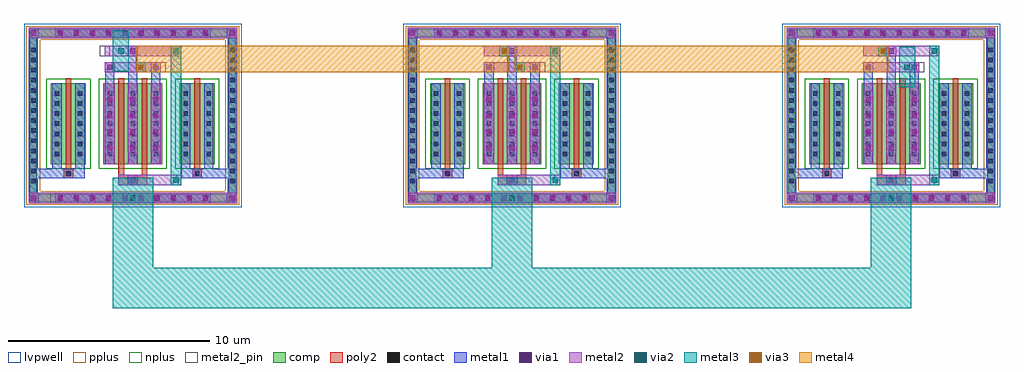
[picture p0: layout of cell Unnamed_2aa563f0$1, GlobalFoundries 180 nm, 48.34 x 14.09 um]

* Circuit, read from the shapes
.subckt Unnamed_2aa563f0$1 VSS
XM1 VSS VSS VSS VSS nfet_03v3 w=4u l=0.28u m=6
XM2 Unnamed_370bb58b_0/VRECT Unnamed_370bb58b_0/VRECT Unnamed_f6345639_1/N1 VSS nfet_03v3 w=4u l=0.28u m=2
XM3 Unnamed_f6345639_1/N1 Unnamed_f6345639_1/N1 Unnamed_f7e6e802_2/N2 VSS nfet_03v3 w=4u l=0.28u m=2
XM4 Unnamed_f7e6e802_2/N2 Unnamed_f7e6e802_2/N2 Unnamed_429ecfc3_3/VOUT VSS nfet_03v3 w=4u l=0.28u m=2
.ends

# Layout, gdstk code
import gdstk
lib = gdstk.Library(unit=1e-6, precision=5e-09)
def R(c, l, rs):  # rectangles x0, y0, x1, y1
    for r in rs: c.add(gdstk.rectangle(r[:2], r[2:], *l))
def A(c, l, x, y, w, h, nx, ny, dx, dy):  # array of equal rectangles
    R(c, l, [(x+i*dx, y+j*dy, x+i*dx+w, y+j*dy+h) for i in range(nx) for j in range(ny)])
def P(c, l, *ps):  # polygons
    for p in ps: c.add(gdstk.Polygon(p, *l))
comp = (22, 0)
poly2 = (30, 0)
pplus = (31, 0)
nplus = (32, 0)
contact = (33, 0)
metal1 = (34, 0)
via1 = (35, 0)
metal2 = (36, 0)
metal2_pin = (36, 10)
via2 = (38, 0)
via3 = (40, 0)
metal3 = (42, 0)
metal4 = (46, 0)
lvpwell = (204, 0)

compass_df8d0505 = lib.new_cell('compass_df8d0505')
R(compass_df8d0505, metal2_pin, [(-0.25,-0.25,0.25,0.25)])

unnamed_370bb58b = lib.new_cell('Unnamed_370bb58b')
unnamed_370bb58b.add(gdstk.Reference(compass_df8d0505, (0,0)))
unnamed_370bb58b.add(gdstk.Label('VRECT', (0,0), layer=36, texttype=10))

compass_df8d0505_1 = lib.new_cell('compass_df8d0505$1')
R(compass_df8d0505_1, metal2_pin, [(-0.25,-0.25,0.25,0.25)])

unnamed_f6345639 = lib.new_cell('Unnamed_f6345639')
unnamed_f6345639.add(gdstk.Reference(compass_df8d0505_1, (0,0)))
unnamed_f6345639.add(gdstk.Label('N1', (0,0), layer=36, texttype=10))

compass_df8d0505_2 = lib.new_cell('compass_df8d0505$2')
R(compass_df8d0505_2, metal2_pin, [(-0.25,-0.25,0.25,0.25)])

unnamed_f7e6e802 = lib.new_cell('Unnamed_f7e6e802')
unnamed_f7e6e802.add(gdstk.Reference(compass_df8d0505_2, (0,0)))
unnamed_f7e6e802.add(gdstk.Label('N2', (0,0), layer=36, texttype=10))

compass_df8d0505_3 = lib.new_cell('compass_df8d0505$3')
R(compass_df8d0505_3, metal2_pin, [(-0.25,-0.25,0.25,0.25)])

unnamed_429ecfc3 = lib.new_cell('Unnamed_429ecfc3')
unnamed_429ecfc3.add(gdstk.Reference(compass_df8d0505_3, (0,0)))
unnamed_429ecfc3.add(gdstk.Label('VOUT', (0,0), layer=36, texttype=10))

compass_df8d0505_4 = lib.new_cell('compass_df8d0505$4')
R(compass_df8d0505_4, metal2_pin, [(-0.25,-0.25,0.25,0.25)])

unnamed_5ba3b51e = lib.new_cell('Unnamed_5ba3b51e')
unnamed_5ba3b51e.add(gdstk.Reference(compass_df8d0505_4, (0,0)))
unnamed_5ba3b51e.add(gdstk.Label('VSS', (0,0), layer=36, texttype=10))

unnamed_2aa563f0_1 = lib.new_cell('Unnamed_2aa563f0$1')
A(unnamed_2aa563f0_1, comp, -3.78, -4.265, 0.36, 0.36, 10, 2, 0.8, 8.17)
A(unnamed_2aa563f0_1, comp, -3.78, -4.265, 7.56, 0.36, 3, 2, 18.78, 8.17)
A(unnamed_2aa563f0_1, comp, 15, -4.265, 0.36, 0.36, 10, 2, 0.8, 8.17)
A(unnamed_2aa563f0_1, comp, 33.78, -4.265, 0.36, 0.36, 10, 2, 0.8, 8.17)
A(unnamed_2aa563f0_1, comp, -5.11, -3.43, 0.36, 0.36, 1, 14, 0, 0.5)
A(unnamed_2aa563f0_1, comp, 4.75, -3.43, 0.36, 0.36, 1, 14, 0, 0.5)
A(unnamed_2aa563f0_1, comp, 13.67, -3.43, 0.36, 0.36, 1, 14, 0, 0.5)
A(unnamed_2aa563f0_1, comp, 23.53, -3.43, 0.36, 0.36, 1, 14, 0, 0.5)
A(unnamed_2aa563f0_1, comp, 32.45, -3.43, 0.36, 0.36, 1, 14, 0, 0.5)
A(unnamed_2aa563f0_1, comp, 42.31, -3.43, 0.36, 0.36, 1, 14, 0, 0.5)
A(unnamed_2aa563f0_1, comp, -1.46, -2.405, 2.92, 4, 3, 1, 18.78, 0)
R(unnamed_2aa563f0_1, comp, [(-5.11,-3.43,-4.75,3.43), (4.75,-3.43,5.11,3.43), (13.67,-3.43,14.03,3.43), (23.53,-3.43,23.89,3.43), (32.45,-3.43,32.81,3.43), (42.31,-3.43,42.67,3.43), (-4.06,-2.405,-2.32,1.595), (2.32,-2.405,4.06,1.595), (14.72,-2.405,16.46,1.595), (21.1,-2.405,22.84,1.595), (33.5,-2.405,35.24,1.595), (39.88,-2.405,41.62,1.595)])
P(unnamed_2aa563f0_1, comp, [(5.11,4.265),(-5.11,4.265),(-5.11,-3.905),(-4.75,-3.905),(-4.75,3.905),(4.75,3.905),(4.75,-3.905),(-4.75,-3.905),(-5.11,-3.905),(-5.11,-4.265),(5.11,-4.265)],
  [(42.67,4.265),(32.45,4.265),(32.45,-3.905),(32.81,-3.905),(32.81,3.905),(42.31,3.905),(42.31,-3.905),(32.81,-3.905),(32.45,-3.905),(32.45,-4.265),(42.67,-4.265)],
  [(23.89,4.265),(13.67,4.265),(13.67,-3.905),(14.03,-3.905),(14.03,3.905),(23.53,3.905),(23.53,-3.905),(14.03,-3.905),(13.67,-3.905),(13.67,-4.265),(23.89,-4.265)])
A(unnamed_2aa563f0_1, poly2, -0.71, -3.445, 1.42, 0.5, 3, 1, 18.78, 0)
A(unnamed_2aa563f0_1, poly2, -0.18, -3.375, 0.36, 0.36, 3, 1, 18.78, 0)
R(unnamed_2aa563f0_1, poly2, [(-3.42,-3.105,-2.96,-2.645), (2.96,-3.105,3.42,-2.645), (15.36,-3.105,15.82,-2.645), (21.74,-3.105,22.2,-2.645), (34.14,-3.105,34.6,-2.645), (40.52,-3.105,40.98,-2.645), (-3.37,-3.055,-3.01,-2.695), (3.01,-3.055,3.37,-2.695), (15.41,-3.055,15.77,-2.695), (21.79,-3.055,22.15,-2.695), (34.19,-3.055,34.55,-2.695), (40.57,-3.055,40.93,-2.695), (-0.71,-2.945,-0.43,-2.645), (0.43,-2.945,0.71,-2.645), (18.07,-2.945,18.35,-2.645), (19.21,-2.945,19.49,-2.645), (36.85,-2.945,37.13,-2.645), (37.99,-2.945,38.27,-2.645), (-3.33,-2.645,-3.05,1.835), (-0.71,-2.645,-0.43,1.835), (0.43,-2.645,0.71,1.835), (3.05,-2.645,3.33,1.835), (15.45,-2.645,15.73,1.835), (18.07,-2.645,18.35,1.835), (19.21,-2.645,19.49,1.835), (21.83,-2.645,22.11,1.835), (34.23,-2.645,34.51,1.835), (36.85,-2.645,37.13,1.835), (37.99,-2.645,38.27,1.835), (40.61,-2.645,40.89,1.835)])
P(unnamed_2aa563f0_1, pplus, [(5.27,4.425),(-5.27,4.425),(-5.27,-3.745),(-4.59,-3.745),(-4.59,3.745),(4.59,3.745),(4.59,-3.745),(-4.59,-3.745),(-5.27,-3.745),(-5.27,-4.425),(5.27,-4.425)],
  [(42.83,4.425),(32.29,4.425),(32.29,-3.745),(32.97,-3.745),(32.97,3.745),(42.15,3.745),(42.15,-3.745),(32.97,-3.745),(32.29,-3.745),(32.29,-4.425),(42.83,-4.425)],
  [(24.05,4.425),(13.51,4.425),(13.51,-3.745),(14.19,-3.745),(14.19,3.745),(23.37,3.745),(23.37,-3.745),(14.19,-3.745),(13.51,-3.745),(13.51,-4.425),(24.05,-4.425)])
A(unnamed_2aa563f0_1, nplus, -1.69, -2.635, 3.38, 4.46, 3, 1, 18.78, 0)
R(unnamed_2aa563f0_1, nplus, [(-4.29,-2.635,-2.09,1.825), (2.09,-2.635,4.29,1.825), (14.49,-2.635,16.69,1.825), (20.87,-2.635,23.07,1.825), (33.27,-2.635,35.47,1.825), (39.65,-2.635,41.85,1.825)])
A(unnamed_2aa563f0_1, contact, -3.71, -4.195, 0.22, 0.22, 10, 2, 0.8, 8.17)
A(unnamed_2aa563f0_1, contact, 15.07, -4.195, 0.22, 0.22, 10, 2, 0.8, 8.17)
A(unnamed_2aa563f0_1, contact, 33.85, -4.195, 0.22, 0.22, 10, 2, 0.8, 8.17)
A(unnamed_2aa563f0_1, contact, -5.04, -3.36, 0.22, 0.22, 1, 14, 0, 0.5)
A(unnamed_2aa563f0_1, contact, 4.82, -3.36, 0.22, 0.22, 1, 14, 0, 0.5)
A(unnamed_2aa563f0_1, contact, 13.74, -3.36, 0.22, 0.22, 1, 14, 0, 0.5)
A(unnamed_2aa563f0_1, contact, 23.6, -3.36, 0.22, 0.22, 1, 14, 0, 0.5)
A(unnamed_2aa563f0_1, contact, 32.52, -3.36, 0.22, 0.22, 1, 14, 0, 0.5)
A(unnamed_2aa563f0_1, contact, 42.38, -3.36, 0.22, 0.22, 1, 14, 0, 0.5)
A(unnamed_2aa563f0_1, contact, -0.11, -3.305, 0.22, 0.22, 3, 1, 18.78, 0)
A(unnamed_2aa563f0_1, contact, -3.87, -2.015, 0.22, 0.22, 1, 7, 0, 0.5)
A(unnamed_2aa563f0_1, contact, -2.73, -2.015, 0.22, 0.22, 1, 7, 0, 0.5)
A(unnamed_2aa563f0_1, contact, -1.25, -2.015, 0.22, 0.22, 3, 7, 1.14, 0.5)
A(unnamed_2aa563f0_1, contact, 2.51, -2.015, 0.22, 0.22, 1, 7, 0, 0.5)
A(unnamed_2aa563f0_1, contact, 3.65, -2.015, 0.22, 0.22, 1, 7, 0, 0.5)
A(unnamed_2aa563f0_1, contact, 14.91, -2.015, 0.22, 0.22, 1, 7, 0, 0.5)
A(unnamed_2aa563f0_1, contact, 16.05, -2.015, 0.22, 0.22, 1, 7, 0, 0.5)
A(unnamed_2aa563f0_1, contact, 17.53, -2.015, 0.22, 0.22, 3, 7, 1.14, 0.5)
A(unnamed_2aa563f0_1, contact, 21.29, -2.015, 0.22, 0.22, 1, 7, 0, 0.5)
A(unnamed_2aa563f0_1, contact, 22.43, -2.015, 0.22, 0.22, 1, 7, 0, 0.5)
A(unnamed_2aa563f0_1, contact, 33.69, -2.015, 0.22, 0.22, 1, 7, 0, 0.5)
A(unnamed_2aa563f0_1, contact, 34.83, -2.015, 0.22, 0.22, 1, 7, 0, 0.5)
A(unnamed_2aa563f0_1, contact, 36.31, -2.015, 0.22, 0.22, 3, 7, 1.14, 0.5)
A(unnamed_2aa563f0_1, contact, 40.07, -2.015, 0.22, 0.22, 1, 7, 0, 0.5)
A(unnamed_2aa563f0_1, contact, 41.21, -2.015, 0.22, 0.22, 1, 7, 0, 0.5)
R(unnamed_2aa563f0_1, contact, [(-3.3,-2.985,-3.08,-2.765), (3.08,-2.985,3.3,-2.765), (15.48,-2.985,15.7,-2.765), (21.86,-2.985,22.08,-2.765), (34.26,-2.985,34.48,-2.765), (40.64,-2.985,40.86,-2.765)])
A(unnamed_2aa563f0_1, metal1, -3.85, -4.335, 0.5, 0.5, 10, 2, 0.8, 8.17)
A(unnamed_2aa563f0_1, metal1, -3.85, -4.335, 7.7, 0.5, 3, 2, 18.78, 8.17)
A(unnamed_2aa563f0_1, metal1, 14.93, -4.335, 0.5, 0.5, 10, 2, 0.8, 8.17)
A(unnamed_2aa563f0_1, metal1, 33.71, -4.335, 0.5, 0.5, 10, 2, 0.8, 8.17)
A(unnamed_2aa563f0_1, metal1, -5.16, -3.48, 0.46, 0.46, 1, 14, 0, 0.5)
A(unnamed_2aa563f0_1, metal1, 4.7, -3.48, 0.46, 0.46, 1, 14, 0, 0.5)
A(unnamed_2aa563f0_1, metal1, 13.62, -3.48, 0.46, 0.46, 1, 14, 0, 0.5)
A(unnamed_2aa563f0_1, metal1, 23.48, -3.48, 0.46, 0.46, 1, 14, 0, 0.5)
A(unnamed_2aa563f0_1, metal1, 32.4, -3.48, 0.46, 0.46, 1, 14, 0, 0.5)
A(unnamed_2aa563f0_1, metal1, 42.26, -3.48, 0.46, 0.46, 1, 14, 0, 0.5)
A(unnamed_2aa563f0_1, metal1, -0.25, -3.445, 0.5, 0.5, 3, 2, 18.78, 6.39)
A(unnamed_2aa563f0_1, metal1, -5.16, -3.105, 1.74, 0.46, 3, 1, 18.78, 0)
A(unnamed_2aa563f0_1, metal1, 2.96, -3.105, 2.2, 0.46, 3, 1, 18.78, 0)
A(unnamed_2aa563f0_1, metal1, -1.37, -2.405, 0.46, 4, 3, 1, 1.14, 0)
A(unnamed_2aa563f0_1, metal1, 17.41, -2.405, 0.46, 4, 3, 1, 1.14, 0)
A(unnamed_2aa563f0_1, metal1, 36.19, -2.405, 0.46, 4, 3, 1, 1.14, 0)
A(unnamed_2aa563f0_1, metal1, -3.99, -2.135, 0.46, 0.46, 1, 7, 0, 0.5)
A(unnamed_2aa563f0_1, metal1, -2.85, -2.135, 0.46, 0.46, 1, 7, 0, 0.5)
A(unnamed_2aa563f0_1, metal1, -1.37, -2.135, 0.46, 0.46, 3, 7, 1.14, 0.5)
A(unnamed_2aa563f0_1, metal1, 2.39, -2.135, 0.46, 0.46, 1, 7, 0, 0.5)
A(unnamed_2aa563f0_1, metal1, 3.53, -2.135, 0.46, 0.46, 1, 7, 0, 0.5)
A(unnamed_2aa563f0_1, metal1, 14.79, -2.135, 0.46, 0.46, 1, 7, 0, 0.5)
A(unnamed_2aa563f0_1, metal1, 15.93, -2.135, 0.46, 0.46, 1, 7, 0, 0.5)
A(unnamed_2aa563f0_1, metal1, 17.41, -2.135, 0.46, 0.46, 3, 7, 1.14, 0.5)
A(unnamed_2aa563f0_1, metal1, 21.17, -2.135, 0.46, 0.46, 1, 7, 0, 0.5)
A(unnamed_2aa563f0_1, metal1, 22.31, -2.135, 0.46, 0.46, 1, 7, 0, 0.5)
A(unnamed_2aa563f0_1, metal1, 33.57, -2.135, 0.46, 0.46, 1, 7, 0, 0.5)
A(unnamed_2aa563f0_1, metal1, 34.71, -2.135, 0.46, 0.46, 1, 7, 0, 0.5)
A(unnamed_2aa563f0_1, metal1, 36.19, -2.135, 0.46, 0.46, 3, 7, 1.14, 0.5)
A(unnamed_2aa563f0_1, metal1, 39.95, -2.135, 0.46, 0.46, 1, 7, 0, 0.5)
A(unnamed_2aa563f0_1, metal1, 41.09, -2.135, 0.46, 0.46, 1, 7, 0, 0.5)
A(unnamed_2aa563f0_1, metal1, -1.39, -1.855, 0.5, 0.5, 3, 4, 1.14, 0.8)
A(unnamed_2aa563f0_1, metal1, -1.39, -1.855, 0.5, 2.9, 3, 1, 1.14, 0)
A(unnamed_2aa563f0_1, metal1, 17.39, -1.855, 0.5, 0.5, 3, 4, 1.14, 0.8)
A(unnamed_2aa563f0_1, metal1, 17.39, -1.855, 0.5, 2.9, 3, 1, 1.14, 0)
A(unnamed_2aa563f0_1, metal1, 36.17, -1.855, 0.5, 0.5, 3, 4, 1.14, 0.8)
A(unnamed_2aa563f0_1, metal1, 36.17, -1.855, 0.5, 2.9, 3, 1, 1.14, 0)
A(unnamed_2aa563f0_1, metal1, -0.23, 1.595, 0.46, 1.85, 3, 1, 18.78, 0)
R(unnamed_2aa563f0_1, metal1, [(-5.16,-4.335,-4.66,-3.835), (-5.16,-4.335,-4.66,-3.835), (-5.16,-4.335,-4.7,-3.905), (4.66,-4.335,5.16,-3.835), (4.66,-4.335,5.16,-3.835), (4.7,-4.335,5.16,-3.905), (13.62,-4.335,14.12,-3.835), (13.62,-4.335,14.12,-3.835), (13.62,-4.335,14.08,-3.905), (23.44,-4.335,23.94,-3.835), (23.44,-4.335,23.94,-3.835), (23.48,-4.335,23.94,-3.905), (32.4,-4.335,32.9,-3.835), (32.4,-4.335,32.9,-3.835), (32.4,-4.335,32.86,-3.905), (42.22,-4.335,42.72,-3.835), (42.22,-4.335,42.72,-3.835), (42.26,-4.335,42.72,-3.905), (-5.16,-3.905,-4.7,3.905), (4.7,-3.905,5.16,3.905), (13.62,-3.905,14.08,3.905), (23.48,-3.905,23.94,3.905), (32.4,-3.905,32.86,3.905), (42.26,-3.905,42.72,3.905), (-3.99,-3.105,-3.42,-2.645), (-3.99,-3.105,-3.53,-2.405), (-3.42,-3.105,-2.96,-2.645), (-2.96,-3.105,-2.39,-2.645), (-2.85,-3.105,-2.39,-2.405), (2.39,-3.105,2.96,-2.645), (2.39,-3.105,2.85,-2.405), (2.96,-3.105,3.42,-2.645), (3.42,-3.105,3.99,-2.645), (3.53,-3.105,3.99,-2.405), (14.79,-3.105,15.36,-2.645), (14.79,-3.105,15.25,-2.405), (15.36,-3.105,15.82,-2.645), (15.82,-3.105,16.39,-2.645), (15.93,-3.105,16.39,-2.405), (21.17,-3.105,21.74,-2.645), (21.17,-3.105,21.63,-2.405), (21.74,-3.105,22.2,-2.645), (22.2,-3.105,22.77,-2.645), (22.31,-3.105,22.77,-2.405), (33.57,-3.105,34.14,-2.645), (33.57,-3.105,34.03,-2.405), (34.14,-3.105,34.6,-2.645), (34.6,-3.105,35.17,-2.645), (34.71,-3.105,35.17,-2.405), (39.95,-3.105,40.52,-2.645), (39.95,-3.105,40.41,-2.405), (40.52,-3.105,40.98,-2.645), (40.98,-3.105,41.55,-2.645), (41.09,-3.105,41.55,-2.405), (-3.99,-2.405,-3.53,1.595), (-2.85,-2.405,-2.39,1.595), (2.39,-2.405,2.85,1.595), (3.53,-2.405,3.99,1.595), (14.79,-2.405,15.25,1.595), (15.93,-2.405,16.39,1.595), (21.17,-2.405,21.63,1.595), (22.31,-2.405,22.77,1.595), (33.57,-2.405,34.03,1.595), (34.71,-2.405,35.17,1.595), (39.95,-2.405,40.41,1.595), (41.09,-2.405,41.55,1.595), (-1.37,1.595,-0.91,2.645), (0.91,1.595,1.37,2.645), (17.41,1.595,17.87,2.645), (19.69,1.595,20.15,2.645), (36.19,1.595,36.65,2.645), (38.47,1.595,38.93,2.645), (-1.39,2.145,-0.89,2.645), (0.89,2.145,1.39,2.645), (17.39,2.145,17.89,2.645), (19.67,2.145,20.17,2.645), (36.17,2.145,36.67,2.645), (38.45,2.145,38.95,2.645), (-5.16,3.835,-4.66,4.335), (-5.16,3.835,-4.66,4.335), (4.66,3.835,5.16,4.335), (4.66,3.835,5.16,4.335), (13.62,3.835,14.12,4.335), (13.62,3.835,14.12,4.335), (23.44,3.835,23.94,4.335), (23.44,3.835,23.94,4.335), (32.4,3.835,32.9,4.335), (32.4,3.835,32.9,4.335), (42.22,3.835,42.72,4.335), (42.22,3.835,42.72,4.335), (-5.16,3.905,-4.7,4.335), (4.7,3.905,5.16,4.335), (13.62,3.905,14.08,4.335), (23.48,3.905,23.94,4.335), (32.4,3.905,32.86,4.335), (42.26,3.905,42.72,4.335)])
A(unnamed_2aa563f0_1, via1, -3.73, -4.215, 0.26, 0.26, 10, 2, 0.8, 8.17)
A(unnamed_2aa563f0_1, via1, 15.05, -4.215, 0.26, 0.26, 10, 2, 0.8, 8.17)
A(unnamed_2aa563f0_1, via1, 33.83, -4.215, 0.26, 0.26, 10, 2, 0.8, 8.17)
A(unnamed_2aa563f0_1, via1, -0.13, -3.325, 0.26, 0.26, 3, 2, 18.78, 6.39)
A(unnamed_2aa563f0_1, via1, -1.27, -1.735, 0.26, 0.26, 3, 4, 1.14, 0.8)
A(unnamed_2aa563f0_1, via1, 17.51, -1.735, 0.26, 0.26, 3, 4, 1.14, 0.8)
A(unnamed_2aa563f0_1, via1, 36.29, -1.735, 0.26, 0.26, 3, 4, 1.14, 0.8)
R(unnamed_2aa563f0_1, via1, [(-5.04,-4.215,-4.78,-3.955), (4.78,-4.215,5.04,-3.955), (13.74,-4.215,14,-3.955), (23.56,-4.215,23.82,-3.955), (32.52,-4.215,32.78,-3.955), (42.34,-4.215,42.6,-3.955), (-1.27,2.265,-1.01,2.525), (1.01,2.265,1.27,2.525), (17.51,2.265,17.77,2.525), (19.79,2.265,20.05,2.525), (36.29,2.265,36.55,2.525), (38.57,2.265,38.83,2.525), (-5.04,3.955,-4.78,4.215), (4.78,3.955,5.04,4.215), (13.74,3.955,14,4.215), (23.56,3.955,23.82,4.215), (32.52,3.955,32.78,4.215), (42.34,3.955,42.6,4.215)])
A(unnamed_2aa563f0_1, metal2, -4.75, -4.335, 9.5, 0.5, 3, 2, 18.78, 8.17)
A(unnamed_2aa563f0_1, metal2, -3.85, -4.335, 0.5, 0.5, 5, 1, 0.8, 0)
A(unnamed_2aa563f0_1, metal2, 0.15, -4.335, 0.5, 0.5, 5, 1, 0.8, 0)
A(unnamed_2aa563f0_1, metal2, 14.93, -4.335, 0.5, 0.5, 5, 1, 0.8, 0)
A(unnamed_2aa563f0_1, metal2, 18.93, -4.335, 0.5, 0.5, 5, 1, 0.8, 0)
A(unnamed_2aa563f0_1, metal2, 33.71, -4.335, 0.5, 0.5, 5, 1, 0.8, 0)
A(unnamed_2aa563f0_1, metal2, 37.71, -4.335, 0.5, 0.5, 5, 1, 0.8, 0)
A(unnamed_2aa563f0_1, metal2, -0.71, -3.445, 1.42, 0.5, 3, 1, 18.78, 0)
A(unnamed_2aa563f0_1, metal2, 0.71, -3.445, 1.68, 0.5, 3, 1, 18.78, 0)
A(unnamed_2aa563f0_1, metal2, -1.39, -2.405, 0.5, 4, 3, 1, 1.14, 0)
A(unnamed_2aa563f0_1, metal2, 17.39, -2.405, 0.5, 4, 3, 1, 1.14, 0)
A(unnamed_2aa563f0_1, metal2, 36.17, -2.405, 0.5, 4, 3, 1, 1.14, 0)
A(unnamed_2aa563f0_1, metal2, -1.39, -1.855, 0.5, 0.5, 3, 4, 1.14, 0.8)
A(unnamed_2aa563f0_1, metal2, 17.39, -1.855, 0.5, 0.5, 3, 4, 1.14, 0.8)
A(unnamed_2aa563f0_1, metal2, 36.17, -1.855, 0.5, 0.5, 3, 4, 1.14, 0.8)
A(unnamed_2aa563f0_1, metal2, -1.39, 2.145, 2.78, 0.5, 3, 2, 18.78, 0.8)
A(unnamed_2aa563f0_1, metal2, 1.39, 2.945, 1, 0.5, 3, 1, 18.78, 0)
A(unnamed_2aa563f0_1, metal2, -3.85, 3.835, 0.5, 0.5, 10, 1, 0.8, 0)
A(unnamed_2aa563f0_1, metal2, 14.93, 3.835, 0.5, 0.5, 10, 1, 0.8, 0)
A(unnamed_2aa563f0_1, metal2, 33.71, 3.835, 0.5, 0.5, 10, 1, 0.8, 0)
R(unnamed_2aa563f0_1, metal2, [(-5.16,-4.335,-4.66,-3.835), (-5.16,-4.335,-4.66,-3.835), (-5.16,-4.335,-4.75,-3.835), (-0.25,-4.335,0.25,-3.835), (4.66,-4.335,5.16,-3.835), (4.66,-4.335,5.16,-3.835), (4.75,-4.335,5.16,-3.835), (13.62,-4.335,14.12,-3.835), (13.62,-4.335,14.12,-3.835), (13.62,-4.335,14.03,-3.835), (18.53,-4.335,19.03,-3.835), (23.44,-4.335,23.94,-3.835), (23.44,-4.335,23.94,-3.835), (23.53,-4.335,23.94,-3.835), (32.4,-4.335,32.9,-3.835), (32.4,-4.335,32.9,-3.835), (32.4,-4.335,32.81,-3.835), (37.31,-4.335,37.81,-3.835), (42.22,-4.335,42.72,-3.835), (42.22,-4.335,42.72,-3.835), (42.31,-4.335,42.72,-3.835), (-0.25,-3.445,0.25,-2.945), (1.89,-3.445,2.39,-2.945), (18.53,-3.445,19.03,-2.945), (20.67,-3.445,21.17,-2.945), (37.31,-3.445,37.81,-2.945), (39.45,-3.445,39.95,-2.945), (-1.39,2.145,-0.89,2.645), (0.14,2.145,0.64,2.645), (0.89,2.145,1.39,2.645), (17.39,2.145,17.89,2.645), (18.92,2.145,19.42,2.645), (19.67,2.145,20.17,2.645), (36.17,2.145,36.67,2.645), (38.1,2.145,38.6,2.645), (38.45,2.145,38.95,2.645), (-0.84,2.945,-0.34,3.445), (-0.25,2.945,0.25,3.445), (1.89,2.945,2.39,3.445), (18.14,2.945,18.64,3.445), (18.53,2.945,19.03,3.445), (20.67,2.945,21.17,3.445), (36.92,2.945,37.42,3.445), (37.31,2.945,37.81,3.445), (39.45,2.945,39.95,3.445), (-5.16,3.835,-4.66,4.335), (-5.16,3.835,-4.66,4.335), (-5.16,3.835,-4.75,4.335), (4.66,3.835,5.16,4.335), (4.66,3.835,5.16,4.335), (4.75,3.835,5.16,4.335), (13.62,3.835,14.12,4.335), (13.62,3.835,14.12,4.335), (13.62,3.835,14.03,4.335), (23.44,3.835,23.94,4.335), (23.44,3.835,23.94,4.335), (23.53,3.835,23.94,4.335), (32.4,3.835,32.9,4.335), (32.4,3.835,32.9,4.335), (32.4,3.835,32.81,4.335), (42.22,3.835,42.72,4.335), (42.22,3.835,42.72,4.335), (42.31,3.835,42.72,4.335)])
A(unnamed_2aa563f0_1, via2, -0.13, -4.215, 0.26, 0.26, 3, 1, 18.78, 0)
A(unnamed_2aa563f0_1, via2, 2.01, -3.325, 0.26, 0.26, 3, 1, 18.78, 0)
R(unnamed_2aa563f0_1, via2, [(0.26,2.265,0.52,2.525), (19.04,2.265,19.3,2.525), (38.22,2.265,38.48,2.525), (-0.72,3.065,-0.46,3.325), (2.01,3.065,2.27,3.325), (18.26,3.065,18.52,3.325), (20.79,3.065,21.05,3.325), (37.04,3.065,37.3,3.325), (39.57,3.065,39.83,3.325)])
R(unnamed_2aa563f0_1, via3, [(0.26,2.265,0.52,2.525), (19.04,2.265,19.3,2.525), (18.26,3.065,18.52,3.325), (37.04,3.065,37.3,3.325)])
A(unnamed_2aa563f0_1, metal3, -1, -9.545, 2, 6.46, 3, 1, 18.78, 0)
A(unnamed_2aa563f0_1, metal3, -0.25, -4.335, 0.5, 0.5, 3, 1, 18.78, 0)
A(unnamed_2aa563f0_1, metal3, 1.89, -3.445, 0.5, 6.89, 3, 1, 18.78, 0)
R(unnamed_2aa563f0_1, metal3, [(-1,-9.545,38.56,-7.545), (1.89,-3.445,2.39,-2.945), (1.89,-3.445,2.39,-2.945), (20.67,-3.445,21.17,-2.945), (20.67,-3.445,21.17,-2.945), (39.45,-3.445,39.95,-2.945), (39.45,-3.445,39.95,-2.945), (37.95,1.395,38.75,3.395), (0.14,2.145,0.64,2.645), (18.92,2.145,19.42,2.645), (38.1,2.145,38.6,2.645), (-0.99,2.195,-0.19,4.195), (-0.84,2.945,-0.34,3.445), (1.89,2.945,2.39,3.445), (1.89,2.945,2.39,3.445), (18.14,2.945,18.64,3.445), (20.67,2.945,21.17,3.445), (20.67,2.945,21.17,3.445), (36.92,2.945,37.42,3.445), (39.45,2.945,39.95,3.445), (39.45,2.945,39.95,3.445)])
P(unnamed_2aa563f0_1, metal3, [(2.39,-3.445),(2.39,-3.445),(2.39,-2.945),(2.39,-2.945)],
  [(2.39,2.945),(2.39,2.945),(2.39,3.445),(2.39,3.445)],
  [(39.95,-3.445),(39.95,-3.445),(39.95,-2.945),(39.95,-2.945)],
  [(39.95,2.945),(39.95,2.945),(39.95,3.445),(39.95,3.445)],
  [(21.17,-3.445),(21.17,-3.445),(21.17,-2.945),(21.17,-2.945)],
  [(21.17,2.945),(21.17,2.945),(21.17,3.445),(21.17,3.445)])
R(unnamed_2aa563f0_1, metal4, [(0.14,2.145,18.64,3.445), (0.14,2.145,0.64,2.645), (18.92,2.145,37.42,3.445), (18.92,2.145,19.42,2.645), (18.14,2.945,18.64,3.445), (36.92,2.945,37.42,3.445)])
A(unnamed_2aa563f0_1, lvpwell, -5.39, -4.545, 10.78, 9.09, 3, 1, 18.78, 0)
unnamed_2aa563f0_1.add(gdstk.Reference(unnamed_370bb58b, (-1.39,3.195)))
unnamed_2aa563f0_1.add(gdstk.Reference(unnamed_f6345639, (1.39,2.395)))
unnamed_2aa563f0_1.add(gdstk.Reference(unnamed_f7e6e802, (20.17,2.395)))
unnamed_2aa563f0_1.add(gdstk.Reference(unnamed_429ecfc3, (38.95,2.395)))
unnamed_2aa563f0_1.add(gdstk.Reference(unnamed_5ba3b51e, (-3.85,-4.085)))

lib.write_gds('Unnamed_2aa563f0_1.gds')
